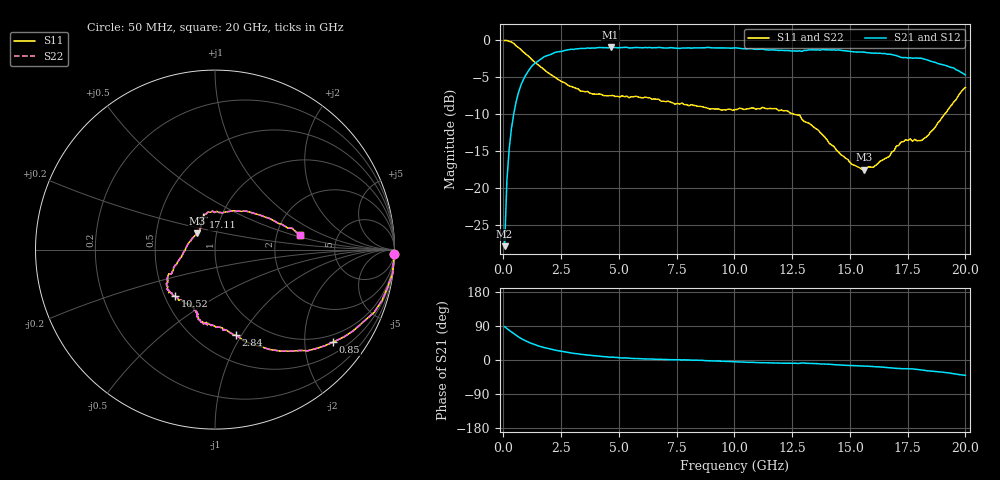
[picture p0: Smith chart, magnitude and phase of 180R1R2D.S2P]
!  American Technical Ceramics  Date:  3/13/98
!  One Norden Lane
!  Huntington Station,  NY.  11746-2102
!  Tel:  (516) 547-5700  Fax:  (516) 547-5748
!  Part Number  180r1r2d
!  Description: Porcelain, High Q, Low ESR
!  Application: Bypass, Coupling, Timing, Feedback
!  Tuning, Impedance Match, Blocking
# GHZ S DB R 50
! Freq  |S11|  S11 Ph  |S21|  S21 Ph  |S12|  S12 Ph  |S22|  S22 Ph
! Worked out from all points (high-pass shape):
!   201 points, 50 MHz to 20 GHz, reference 50 ohm
!   highest |S21| = -0.93 dB at 4.64 GHz (marker M1); lowest = -27.9 dB at 50 MHz (marker M2)
!   |S21| within 3 dB of the highest: 1.127 GHz to 19.57 GHz (18.45 GHz wide, 178 % of centre)
!   lowest |S11| = -17.5 dB at 15.61 GHz (marker M3), VSWR 1.31, Z = 40.5 + j7.4 ohm
!   |S11| at or under -10 dB: 12.56 GHz to 19.11 GHz (6.55 GHz wide, 41.4 % of centre)
!   |S22| runs from -17.5 to 0.0 dB; largest |S21 - S12| = 0
!   S11 on the Smith chart (normalised r, x): 50 MHz: 4, -80; 850 MHz: 0.79, -2.69; 2.84 GHz: 0.75, -0.94; 10.52 GHz: 0.57, -0.33; 17.11 GHz: 0.82, +0.31; 20 GHz: 2.70, +0.59
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0.05  -0.01 -1.4  -27.92 87.9  -27.92 87.9  -0.01 -1.4
0.15  -0.01 -7.6  -18.97 83.1  -18.97 83.1  -0.01 -7.6
0.25  -0.13 -12.1  -14.66 78.2  -14.66 78.2  -0.13 -12.1
0.55  -0.75 -26.3  -8.29 64.9  -8.29 64.9  -0.75 -26.3
0.85  -1.56 -38.1  -5.41 53.8  -5.41 53.8  -1.56 -38.1
1.15  -2.33 -47.5  -3.82 45.2  -3.82 45.2  -2.33 -47.5
1.85  -4.21 -63.0  -2.11 31.6  -2.11 31.6  -4.21 -63.0
2.84  -6.18 -76.4  -1.26 19.4  -1.26 19.4  -6.18 -76.4
3.44  -6.89 -83.2  -1.09 14.7  -1.09 14.7  -6.89 -83.2
4.64  -7.49 -93.3  -0.93 7.3  -0.93 7.3  -7.49 -93.3
6.73  -7.99 -103.6  -0.95 1.6  -0.95 1.6  -7.99 -103.6
8.83  -9.19 -109.9  -0.95 -1.7  -0.95 -1.7  -9.19 -109.9
10.03  -9.39 -123.3  -1.01 -4.6  -1.01 -4.6  -9.39 -123.3
10.52  -9.31 -130.5  -1.16 -6.0  -1.16 -6.0  -9.31 -130.5
12.32  -9.60 -144.9  -1.37 -8.5  -1.37 -8.5  -9.60 -144.9
13.42  -11.74 -153.7  -1.27 -9.2  -1.27 -9.2  -11.74 -153.7
15.61  -17.52 137.5  -1.59 -16.1  -1.59 -16.1  -17.52 137.5
16.71  -15.74 116.6  -1.87 -20.6  -1.87 -20.6  -15.74 116.6
17.11  -14.26 110.3  -2.18 -22.3  -2.18 -22.3  -14.26 110.3
18.4  -12.85 69.1  -2.72 -28.6  -2.72 -28.6  -12.85 69.1
19.1  -10.04 37.8  -3.36 -32.8  -3.36 -32.8  -10.04 37.8
20  -6.38 10.1  -4.69 -40.5  -4.69 -40.5  -6.38 10.1
